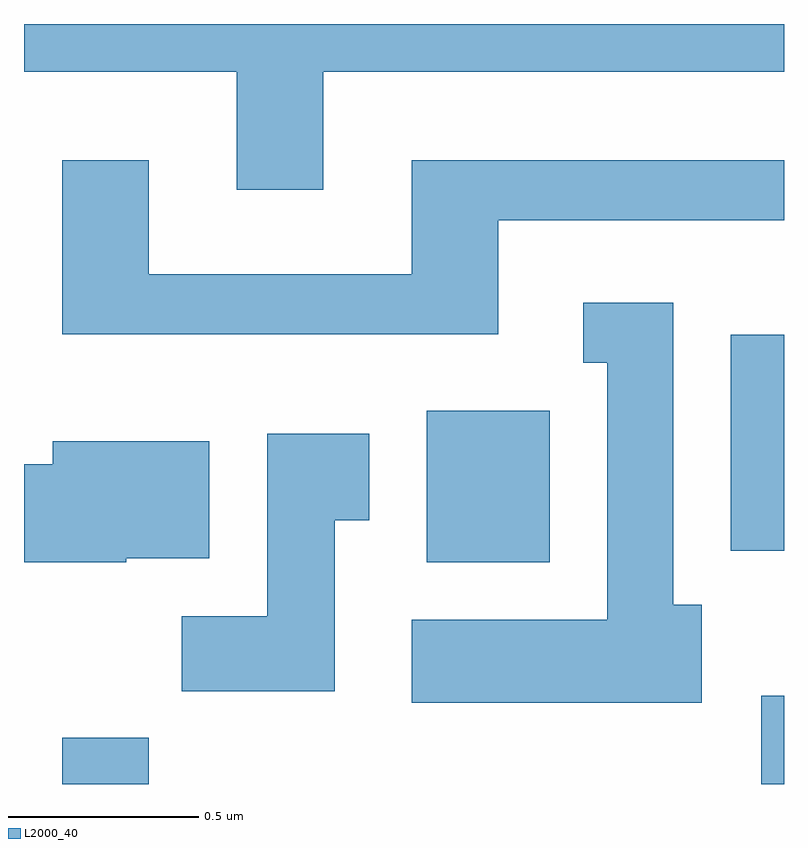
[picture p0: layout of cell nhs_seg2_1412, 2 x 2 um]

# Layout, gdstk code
import gdstk
lib = gdstk.Library(unit=1e-6, precision=1e-09)
def R(c, l, rs):  # rectangles x0, y0, x1, y1
    for r in rs: c.add(gdstk.rectangle(r[:2], r[2:], *l))
def P(c, l, *ps):  # polygons
    for p in ps: c.add(gdstk.Polygon(p, *l))
L2000_40 = (2000, 40)

nhs_seg2_1412 = lib.new_cell('nhs_seg2_1412')
R(nhs_seg2_1412, L2000_40, [(195.711,1019.802,195.939,1019.924), (197.551,1019.802,197.611,1020.034), (196.671,1020.386,196.994,1020.784), (197.471,1020.416,197.611,1020.984)])
P(nhs_seg2_1412, L2000_40, [(196.399,1021.676),(197.611,1021.676),(197.611,1021.802),(195.611,1021.802),(195.611,1021.676),(196.171,1021.676),(196.171,1021.366),(196.399,1021.366)],
  [(196.859,1021.286),(197.611,1021.286),(197.611,1021.444),(196.631,1021.444),(196.631,1021.144),(195.939,1021.144),(195.939,1021.444),(195.711,1021.444),(195.711,1020.986),(196.859,1020.986)],
  [(197.394,1020.274),(197.319,1020.274),(197.319,1021.069),(197.083,1021.069),(197.083,1020.911),(197.146,1020.911),(197.146,1020.234),(196.631,1020.234),(196.631,1020.016),(197.394,1020.016)],
  [(196.429,1020.496),(196.519,1020.496),(196.519,1020.724),(196.251,1020.724),(196.251,1020.244),(196.026,1020.244),(196.026,1020.046),(196.429,1020.046)],
  [(195.88,1020.396),(196.099,1020.396),(196.099,1020.704),(195.686,1020.704),(195.686,1020.644),(195.611,1020.644),(195.611,1020.386),(195.88,1020.386)])

lib.write_gds('nhs_seg2_1412.gds')
